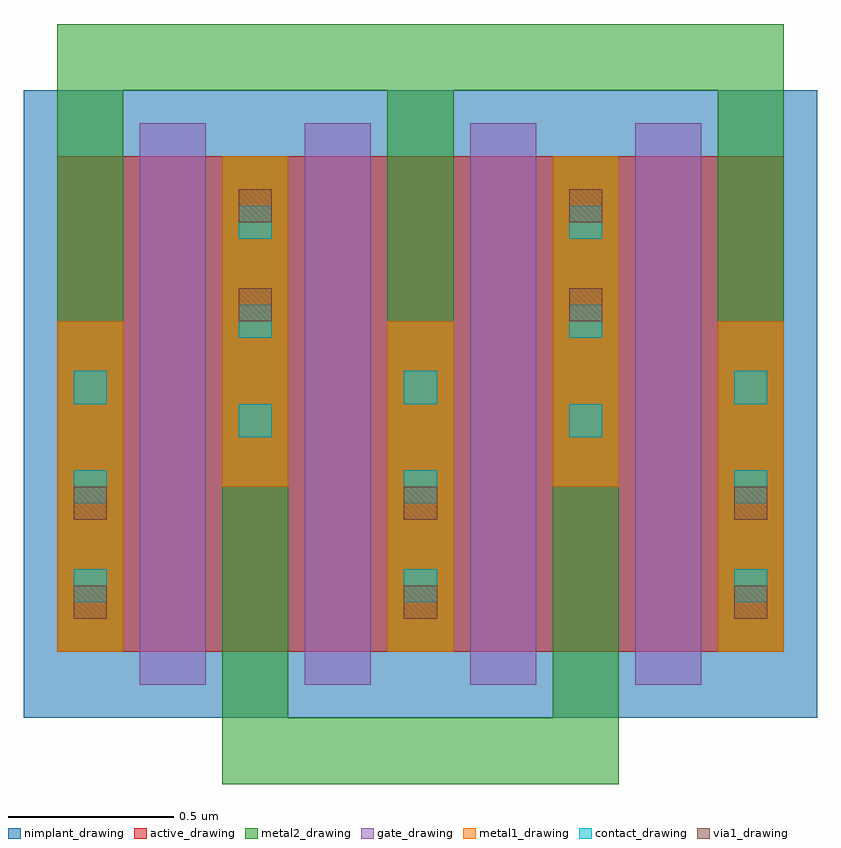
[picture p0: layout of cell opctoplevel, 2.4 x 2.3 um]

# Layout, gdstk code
import gdstk
lib = gdstk.Library(unit=1e-6, precision=1e-09)
def R(c, l, rs):  # rectangles x0, y0, x1, y1
    for r in rs: c.add(gdstk.rectangle(r[:2], r[2:], *l))
def A(c, l, x, y, w, h, nx, ny, dx, dy):  # array of equal rectangles
    R(c, l, [(x+i*dx, y+j*dy, x+i*dx+w, y+j*dy+h) for i in range(nx) for j in range(ny)])
active_drawing = (1, 0)
nimplant_drawing = (5, 0)
gate_drawing = (6, 0)
contact_drawing = (7, 0)
metal1_drawing = (8, 0)
via1_drawing = (9, 0)
metal2_drawing = (10, 0)

opctoplevel = lib.new_cell('opctoplevel')
R(opctoplevel, active_drawing, [(-0.25,0,1.95,1.5)])
R(opctoplevel, nimplant_drawing, [(-0.35,-0.2,2.05,1.7)])
A(opctoplevel, gate_drawing, 0, -0.1, 0.2, 1.7, 4, 1, 0.5, 0)
A(opctoplevel, contact_drawing, -0.2, 0.15, 0.1, 0.1, 3, 3, 1, 0.3)
A(opctoplevel, contact_drawing, 0.3, 0.65, 0.1, 0.1, 1, 3, 0, 0.3)
A(opctoplevel, contact_drawing, 1.3, 0.65, 0.1, 0.1, 1, 3, 0, 0.3)
A(opctoplevel, metal1_drawing, -0.25, 0, 0.2, 1, 3, 1, 1, 0)
R(opctoplevel, metal1_drawing, [(0.25,0.5,0.45,1.5), (1.25,0.5,1.45,1.5)])
A(opctoplevel, via1_drawing, -0.2, 0.1, 0.1, 0.1, 3, 2, 1, 0.3)
R(opctoplevel, via1_drawing, [(0.3,1,0.4,1.1), (1.3,1,1.4,1.1), (0.3,1.3,0.4,1.4), (1.3,1.3,1.4,1.4)])
A(opctoplevel, metal2_drawing, -0.25, 0, 0.2, 0.6, 3, 1, 1, 0)
A(opctoplevel, metal2_drawing, -0.25, 0.6, 0.2, 1.1, 3, 1, 1, 0)
R(opctoplevel, metal2_drawing, [(0.25,-0.4,1.45,-0.2), (0.25,-0.2,0.45,0.9), (1.25,-0.2,1.45,0.9), (0.25,0.9,0.45,1.5), (1.25,0.9,1.45,1.5), (-0.25,1.7,1.95,1.9)])

lib.write_gds('opctoplevel.gds')
